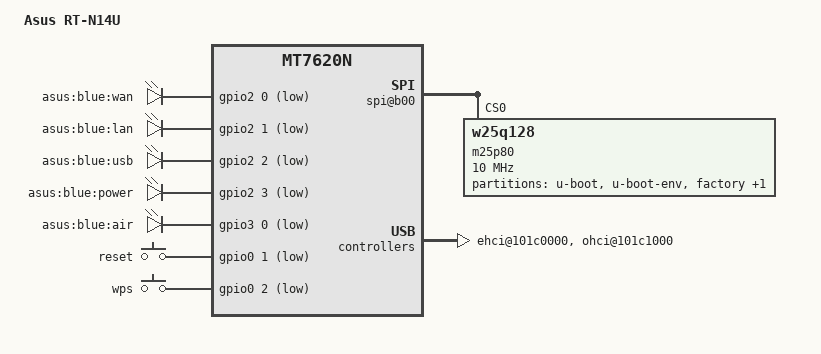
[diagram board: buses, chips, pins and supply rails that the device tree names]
/dts-v1/;

/include/ "mt7620n.dtsi"

/ {
	compatible = "asus,rt-n14u", "ralink,mt7620n-soc";
	model = "Asus RT-N14U";

	palmbus@10000000 {
		gpio2: gpio@660 {
			status = "okay";
		};

		gpio3: gpio@688 {
			status = "okay";
		};

		spi@b00 {
			status = "okay";

			m25p80@0 {
				#address-cells = <1>;
				#size-cells = <1>;
				#compatible = "mx25l6405d";
				compatible = "w25q128";
				reg = <0 0>;
				linux,modalias = "m25p80", "w25q128";
				spi-max-frequency = <10000000>;

				partition@0 {
					label = "u-boot";
					reg = <0x0 0x30000>;
					read-only;
				};

				partition@30000 {
					label = "u-boot-env";
					reg = <0x30000 0x10000>;
					read-only;
				};

				factory: partition@40000 {
					label = "factory";
					reg = <0x40000 0x10000>;
					read-only;
				};

				partition@50000 {
					label = "firmware";
					reg = <0x50000 0xfb0000>;
				};
			};
		};
	};

	ehci@101c0000 {
		status = "okay";
	};

	ohci@101c1000 {
		status = "okay";
	};

	ethernet@10100000 {
		mtd-mac-address = <&factory 0x4>;
		ralink,port-map = "wllll";
	};

	wmac@10180000 {
		ralink,mtd-eeprom = <&factory 0>;
	};

	pinctrl {
		state_default: pinctrl0 {
			default {
				ralink,group = "ephy", "wled";
				ralink,function = "gpio";
			};
		};
	};

	gpio-leds {
		compatible = "gpio-leds";
		wan {
			label = "asus:blue:wan";
			gpios = <&gpio2 0 1>;
		};
		lan {
			label = "asus:blue:lan";
			gpios = <&gpio2 1 1>;
		};
		usb {
			label = "asus:blue:usb";
			gpios = <&gpio2 2 1>;
		};
		power {
			label = "asus:blue:power";
			gpios = <&gpio2 3 1>;
		};
		air {
			label = "asus:blue:air";
			gpios = <&gpio3 0 1>;
		};
	};

	gpio-keys-polled {
		compatible = "gpio-keys-polled";
		#address-cells = <1>;
		#size-cells = <0>;
		poll-interval = <20>;
		reset {
			label = "reset";
			gpios = <&gpio0 1 1>;
			linux,code = <0x198>;
		};
		wps {
			label = "wps";
			gpios = <&gpio0 2 1>;
			linux,code = <0x211>;
		};
	};
};
